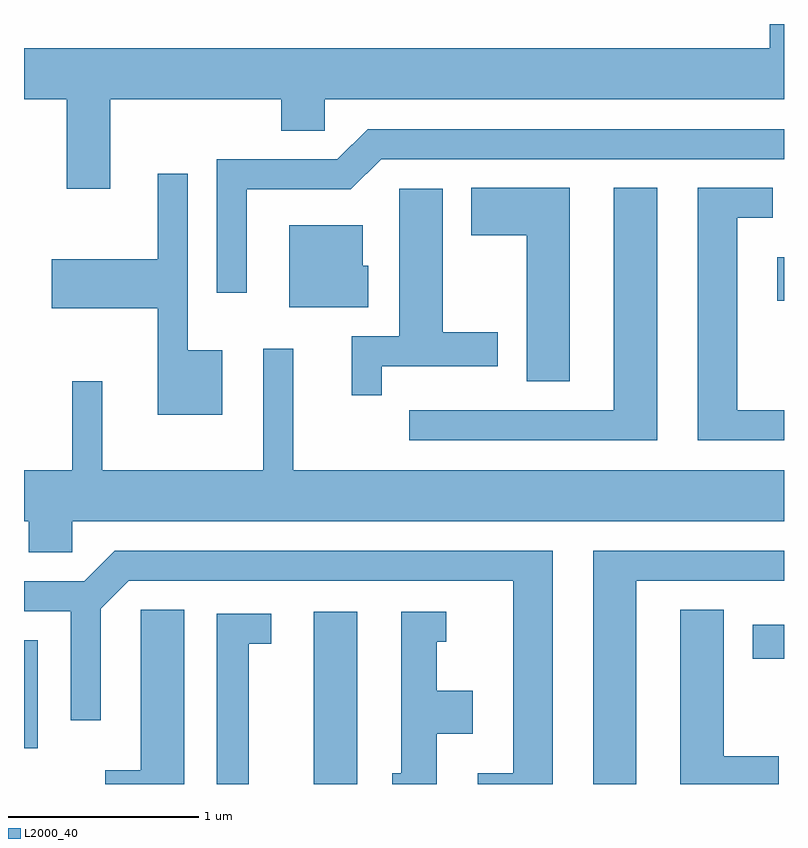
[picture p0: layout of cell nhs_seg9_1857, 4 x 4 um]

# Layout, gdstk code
import gdstk
lib = gdstk.Library(unit=1e-6, precision=1e-09)
def R(c, l, rs):  # rectangles x0, y0, x1, y1
    for r in rs: c.add(gdstk.rectangle(r[:2], r[2:], *l))
def P(c, l, *ps):  # polygons
    for p in ps: c.add(gdstk.Polygon(p, *l))
L2000_40 = (2000, 40)

nhs_seg9_1857 = lib.new_cell('nhs_seg9_1857')
R(nhs_seg9_1857, L2000_40, [(241.136,1990.432,241.364,1991.339), (239.611,1990.621,239.684,1991.189), (243.446,1991.091,243.611,1991.269), (243.576,1992.976,243.611,1993.204)])
P(nhs_seg9_1857, L2000_40, [(240.064,1994.036),(240.966,1994.036),(240.966,1993.871),(241.194,1993.871),(241.194,1994.036),(243.611,1994.036),(243.611,1994.432),(243.536,1994.432),(243.536,1994.304),(239.611,1994.304),(239.611,1994.036),(239.836,1994.036),(239.836,1993.566),(240.064,1993.566)],
  [(240.784,1993.561),(241.332,1993.561),(241.492,1993.721),(243.611,1993.721),(243.611,1993.879),(241.419,1993.879),(241.259,1993.719),(240.626,1993.719),(240.626,1993.018),(240.784,1993.018)],
  [(240.654,1992.714),(240.474,1992.714),(240.474,1993.643),(240.316,1993.643),(240.316,1993.194),(239.756,1993.194),(239.756,1992.936),(240.316,1992.936),(240.316,1992.376),(240.654,1992.376)],
  [(242.944,1993.569),(242.716,1993.569),(242.716,1992.399),(241.638,1992.399),(241.638,1992.241),(242.944,1992.241)],
  [(242.484,1993.569),(241.966,1993.569),(241.966,1993.321),(242.256,1993.321),(242.256,1992.551),(242.484,1992.551)],
  [(243.611,1992.399),(243.364,1992.399),(243.364,1993.411),(243.553,1993.411),(243.553,1993.569),(243.156,1993.569),(243.156,1992.241),(243.611,1992.241)],
  [(241.494,1992.631),(242.104,1992.631),(242.104,1992.809),(241.814,1992.809),(241.814,1993.564),(241.586,1993.564),(241.586,1992.789),(241.336,1992.789),(241.336,1992.478),(241.494,1992.478)],
  [(241.424,1993.159),(241.394,1993.159),(241.394,1993.374),(241.006,1993.374),(241.006,1992.941),(241.424,1992.941)],
  [(239.864,1991.816),(243.611,1991.816),(243.611,1992.084),(241.029,1992.084),(241.029,1992.723),(240.871,1992.723),(240.871,1992.084),(240.024,1992.084),(240.024,1992.553),(239.866,1992.553),(239.866,1992.084),(239.611,1992.084),(239.611,1991.816),(239.636,1991.816),(239.636,1991.651),(239.864,1991.651)],
  [(242.394,1991.659),(240.089,1991.659),(239.929,1991.499),(239.611,1991.499),(239.611,1991.341),(239.856,1991.341),(239.856,1990.768),(240.014,1990.768),(240.014,1991.354),(240.162,1991.501),(242.186,1991.501),(242.186,1990.489),(241.998,1990.489),(241.998,1990.432),(242.394,1990.432)],
  [(242.834,1991.501),(243.611,1991.501),(243.611,1991.659),(242.606,1991.659),(242.606,1990.432),(242.834,1990.432)],
  [(240.454,1991.349),(240.226,1991.349),(240.226,1990.504),(240.038,1990.504),(240.038,1990.432),(240.454,1990.432)],
  [(243.584,1990.579),(243.294,1990.579),(243.294,1991.349),(243.066,1991.349),(243.066,1990.432),(243.584,1990.432)],
  [(241.784,1990.696),(241.974,1990.696),(241.974,1990.924),(241.784,1990.924),(241.784,1991.181),(241.833,1991.181),(241.833,1991.339),(241.596,1991.339),(241.596,1990.489),(241.548,1990.489),(241.548,1990.432),(241.784,1990.432)],
  [(240.794,1991.171),(240.913,1991.171),(240.913,1991.329),(240.626,1991.329),(240.626,1990.432),(240.794,1990.432)])

lib.write_gds('nhs_seg9_1857.gds')
